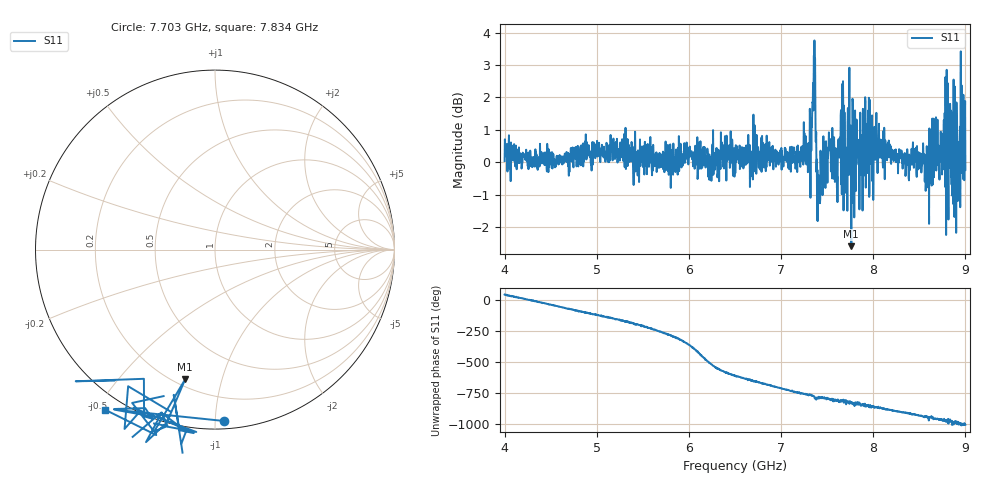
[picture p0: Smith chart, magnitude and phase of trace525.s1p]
! Created with skrf 1.8.0 (http://scikit-rf.org).
# Hz S RI R 50.0
!freq ReS11 ImS11
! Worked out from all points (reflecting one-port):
!   1601 points, 4 GHz to 9 GHz, reference 50 ohm
!   lowest |S11| = -2.6 dB at 7.762 GHz (marker M1), VSWR 6.74, Z = 12 - j38.4 ohm
!   phase of S11 starts at 48 deg and turns -1055 deg over the sweep
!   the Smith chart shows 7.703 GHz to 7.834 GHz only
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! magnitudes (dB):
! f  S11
! 4 GHz  0.0
! 4.625 GHz  -0.1
! 5.25 GHz  0.0
! 5.875 GHz  0.0
! 6.5 GHz  0.0
! 7.125 GHz  0.2
! 7.294 GHz  0.0
! 7.347 GHz  2.4
! 7.362 GHz  3.8
! 7.409 GHz  -0.9
! 7.509 GHz  0.1
! 7.591 GHz  0.4
! 7.65 GHz  1.6
! 7.75 GHz  0.2
! 7.762 GHz  -2.6
! 7.784 GHz  -0.3
! 7.891 GHz  0.4
! 8.038 GHz  0.5
! 8.375 GHz  -0.1
! 8.441 GHz  -0.2
! 8.581 GHz  0.5
! 8.656 GHz  1.3
! 8.728 GHz  0.0
! 8.819 GHz  0.8
! 8.841 GHz  1.6
! 8.919 GHz  -0.1
! 8.972 GHz  0.6
! 9 GHz  -0.2
